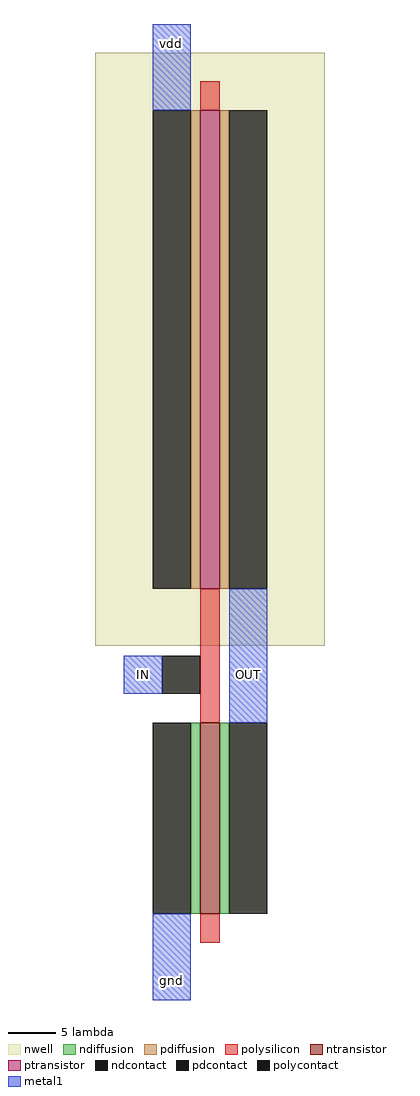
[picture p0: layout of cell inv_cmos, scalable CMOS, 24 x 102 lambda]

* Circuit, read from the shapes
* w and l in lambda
.subckt inv_cmos IN OUT gnd vdd
M1 OUT IN gnd VSUBS nfet w=20 l=2
M2 OUT IN vdd n1 pfet w=50 l=2
.ends

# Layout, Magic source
magic
tech scmos
<< nwell >>
rect 0 0 24 62
<< ntransistor >>
rect 11 -28 13 -8
<< ptransistor >>
rect 11 6 13 56
<< ndiffusion >>
rect 10 -28 11 -8
rect 13 -28 14 -8
<< pdiffusion >>
rect 10 6 11 56
rect 13 6 14 56
<< ndcontact >>
rect 6 -28 10 -8
rect 14 -28 18 -8
<< pdcontact >>
rect 6 6 10 56
rect 14 6 18 56
<< polysilicon >>
rect 11 56 13 59
rect 11 -8 13 6
rect 11 -31 13 -28
<< polycontact >>
rect 7 -5 11 -1
<< metal1 >>
rect 6 56 10 65
rect 3 -5 7 -1
rect 14 -8 18 6
rect 6 -37 10 -28
<< labels >>
rlabel metal1 3 -5 7 -1 1 IN
rlabel metal1 14 -5 18 -1 1 OUT
rlabel metal1 6 61 10 65 5 vdd
rlabel metal1 6 -37 10 -33 1 gnd
<< end >>
